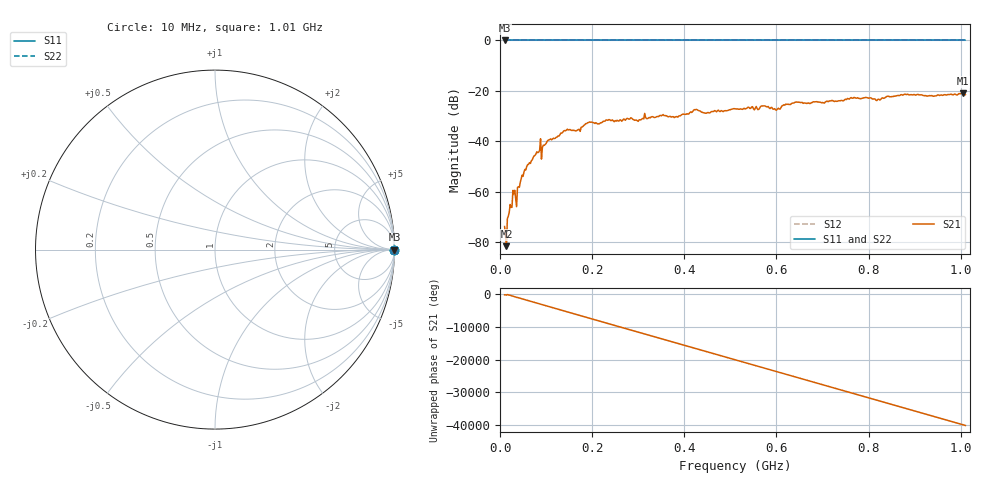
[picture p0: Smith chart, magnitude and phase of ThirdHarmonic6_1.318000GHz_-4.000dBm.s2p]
! 8/16/2025 2:37:43 PM
! C:\ANRITSUVNA\TEMP\TEMP.S2P
! CHANNEL.1
! TR.MEASUREMENT
! RAW.DATA
! RF.CORRECTION.OFF
! AVERAGING.OFF
! IF.BANDWIDTH: 5KHZ
! SWEEPTYPE:  FREQ.SWEEP(Linear)
! Reference Plane Port Info
! PORT:  PORT1  PORT2
! DISTANCE:  0  m  0  m
! TIME:  0  s  0  s
! PHASE.OFFSET:  0  deg.  0  deg.
! LOSS:  0  dB  0  dB
! REF.LOSS:  0  dB  0  dB
! REF.FREQ:  0  Hz  0  Hz
! Power Info
! POWER:  -20  dBm  -20  dBm
! EFF.POWER:  -20  dBm  -20  dBm
! SOURCE.ATTEN:  0  dB  0  dB
! TEST.ATTEN:  0  dB  0  dB
# GHZ S RI R 50.0
! FREQ.GHZ  S11RE  S11IM  S21RE  S21IM  S12RE  S12IM  S22RE  S22IM
!; PortSelection: Port_12
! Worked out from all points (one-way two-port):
!   501 points, 10 MHz to 1.01 GHz, reference 50 ohm
!   highest |S21| = -20.96 dB at 1.004 GHz (marker M1); lowest = -81.5 dB at 14 MHz (marker M2)
!   lowest |S11| = 0.0 dB at 10 MHz (marker M3)
!   |S11| at or under -10 dB: nowhere
!   |S22| runs from 0.0 to 0.0 dB; largest |S21 - S12| = 1.1
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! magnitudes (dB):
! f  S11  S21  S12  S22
! 10 MHz  0.0  -73.7  0.0  0.0
! 14 MHz  0.0  -81.5  0.0  0.0
! 20 MHz  0.0  -68.1  0.0  0.0
! 28 MHz  0.0  -59.4  0.0  0.0
! 38 MHz  0.0  -58.2  0.0  0.0
! 42 MHz  0.0  -58.1  0.0  0.0
! 56 MHz  0.0  -51.3  0.0  0.0
! 84 MHz  0.0  -44.2  0.0  0.0
! 142 MHz  0.0  -35.8  0.0  0.0
! 178 MHz  0.0  -34.3  0.0  0.0
! 194 MHz  0.0  -32.3  0.0  0.0
! 344 MHz  0.0  -30.2  0.0  0.0
! 382 MHz  0.0  -30.2  0.0  0.0
! 424 MHz  0.0  -27.5  0.0  0.0
! 510 MHz  0.0  -27.1  0.0  0.0
! 572 MHz  0.0  -25.9  0.0  0.0
! 602 MHz  0.0  -27.2  0.0  0.0
! 642 MHz  0.0  -24.4  0.0  0.0
! 678 MHz  0.0  -24.6  0.0  0.0
! 844 MHz  0.0  -22.2  0.0  0.0
! 1.004 GHz  0.0  -21.0  0.0  0.0
! 1.01 GHz  0.0  -21.5  0.0  0.0
